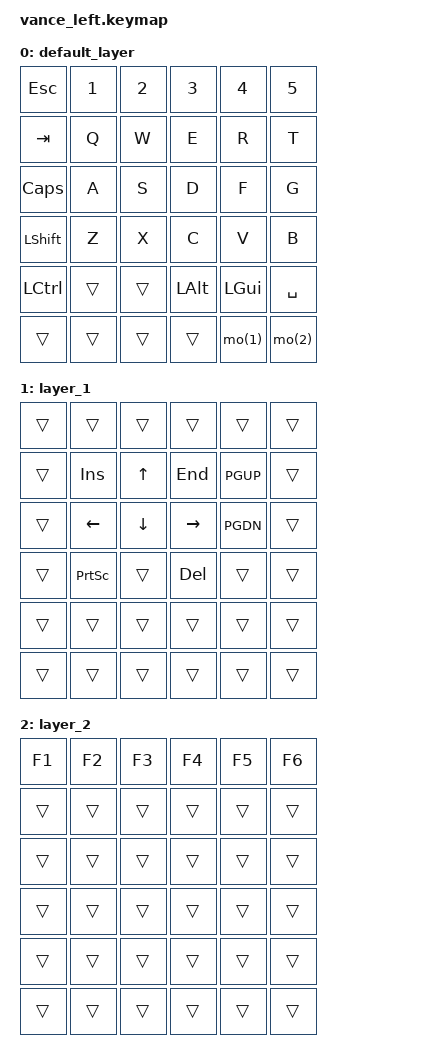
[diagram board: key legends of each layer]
#include <behaviors.dtsi>
#include <dt-bindings/zmk/keys.h>
#include <dt-bindings/zmk/bt.h>

/ {
    keymap {
        compatible = "zmk,keymap";

        default_layer {
            bindings = <
                &kp ESC &kp N1 &kp N2 &kp N3 &kp N4 &kp N5
                &kp TAB &kp Q &kp W &kp E &kp R &kp T
                &kp CAPS &kp A &kp S &kp D &kp F &kp G
                &kp LSHIFT &kp Z &kp X &kp C &kp V &kp B
                &kp LCTRL &trans &trans &kp LALT &kp LGUI &kp SPACE
                &trans &trans &trans &trans &mo(1) &mo(2)
            >;
        };

        layer_1 {
            bindings = <
                &trans &trans &trans &trans &trans &trans
                &trans &kp INS &kp UP &kp END &kp PGUP &trans
                &trans &kp LEFT &kp DOWN &kp RIGHT &kp PGDN &trans
                &trans &kp PSCRN &trans &kp DEL &trans &trans
                &trans &trans &trans &trans &trans &trans
                &trans &trans &trans &trans &trans &trans
            >;
        };

        layer_2 {
            bindings = <
                &kp F1 &kp F2 &kp F3 &kp F4 &kp F5 &kp F6
                &trans &trans &trans &trans &trans &trans
                &trans &trans &trans &trans &trans &trans
                &trans &trans &trans &trans &trans &trans
                &trans &trans &trans &trans &trans &trans
                &trans &trans &trans &trans &trans &trans
            >;
        };
    };
};

